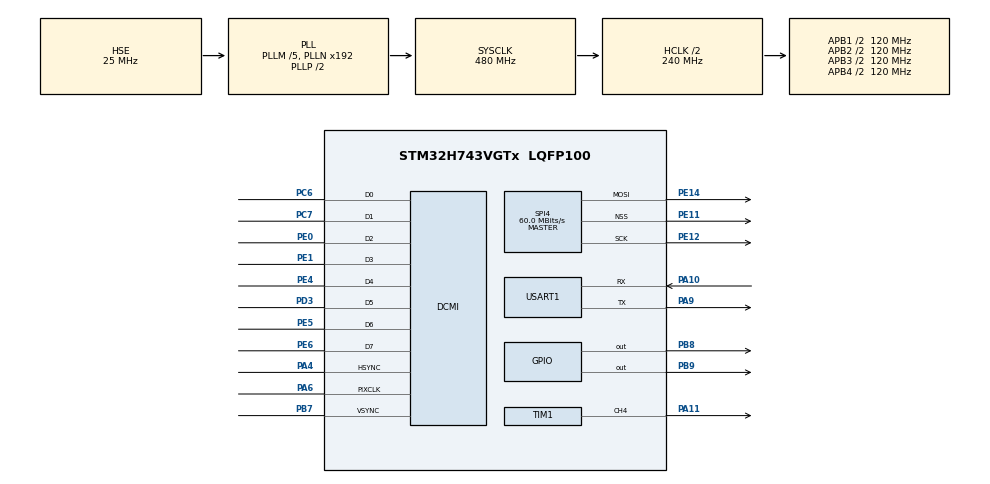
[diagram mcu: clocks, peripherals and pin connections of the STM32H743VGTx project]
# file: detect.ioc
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CORTEX_M7.AccessPermission_Spec=MPU_REGION_FULL_ACCESS
CORTEX_M7.BaseAddress_Spec=0x24000000
CORTEX_M7.CPU_DCache=Enabled
CORTEX_M7.CPU_ICache=Enabled
CORTEX_M7.IsBufferable_Spec=MPU_ACCESS_BUFFERABLE
CORTEX_M7.IsCacheable_Spec=MPU_ACCESS_CACHEABLE
CORTEX_M7.Size_Spec=MPU_REGION_SIZE_512KB
CORTEX_M7.default_mode_Activation=1
DCMI.PCKPolarity=DCMI_PCKPOLARITY_RISING
Dma.DCMI.0.Direction=DMA_PERIPH_TO_MEMORY
Dma.DCMI.0.EventEnable=DISABLE
Dma.DCMI.0.FIFOMode=DMA_FIFOMODE_ENABLE
Dma.DCMI.0.FIFOThreshold=DMA_FIFO_THRESHOLD_FULL
Dma.DCMI.0.Instance=DMA2_Stream7
Dma.DCMI.0.MemBurst=DMA_MBURST_SINGLE
Dma.DCMI.0.MemDataAlignment=DMA_MDATAALIGN_WORD
Dma.DCMI.0.MemInc=DMA_MINC_ENABLE
Dma.DCMI.0.Mode=DMA_CIRCULAR
Dma.DCMI.0.PeriphBurst=DMA_PBURST_SINGLE
Dma.DCMI.0.PeriphDataAlignment=DMA_PDATAALIGN_WORD
Dma.DCMI.0.PeriphInc=DMA_PINC_DISABLE
Dma.DCMI.0.Polarity=HAL_DMAMUX_REQ_GEN_RISING
Dma.DCMI.0.Priority=DMA_PRIORITY_LOW
Dma.DCMI.0.RequestNumber=1
Dma.DCMI.0.SignalID=NONE
Dma.DCMI.0.SyncEnable=DISABLE
Dma.DCMI.0.SyncPolarity=HAL_DMAMUX_SYNC_NO_EVENT
Dma.DCMI.0.SyncRequestNumber=1
Dma.DCMI.0.SyncSignalID=NONE
Dma.Request0=DCMI
Mcu.Family=STM32H7
Mcu.Name=STM32H743VGTx
Mcu.Package=LQFP100
NVIC.DCMI_IRQn=true\:0\:0\:true\:false\:true\:true\:true\:true
NVIC.DMA2_Stream7_IRQn=true\:0\:0\:true\:false\:true\:false\:true\:true
NVIC.PriorityGroup=NVIC_PRIORITYGROUP_4
PA10.Mode=Asynchronous
PA10.Signal=USART1_RX
PA11.Signal=S_TIM1_CH4
PA13\ (JTMS/SWDIO).Mode=Serial_Wire
PA13\ (JTMS/SWDIO).Signal=DEBUG_JTMS-SWDIO
PA14\ (JTCK/SWCLK).Mode=Serial_Wire
PA14\ (JTCK/SWCLK).Signal=DEBUG_JTCK-SWCLK
PA4.Mode=Slave_8_bits_External_Synchro
PA4.Signal=DCMI_HSYNC
PA6.Mode=Slave_8_bits_External_Synchro
PA6.Signal=DCMI_PIXCLK
PA9.Mode=Asynchronous
PA9.Signal=USART1_TX
PB7.Mode=Slave_8_bits_External_Synchro
PB7.Signal=DCMI_VSYNC
PB8.GPIO_ModeDefaultOutputPP=GPIO_MODE_OUTPUT_OD
PB8.GPIO_PuPd=GPIO_NOPULL
PB8.PinState=GPIO_PIN_SET
PB8.Signal=GPIO_Output
PB9.PinState=GPIO_PIN_SET
PB9.Signal=GPIO_Output
PC14-OSC32_IN\ (OSC32_IN).Mode=LSE-External-Oscillator
PC14-OSC32_IN\ (OSC32_IN).Signal=RCC_OSC32_IN
PC15-OSC32_OUT\ (OSC32_OUT).Mode=LSE-External-Oscillator
PC15-OSC32_OUT\ (OSC32_OUT).Signal=RCC_OSC32_OUT
PC6.Mode=Slave_8_bits_External_Synchro
PC6.Signal=DCMI_D0
PC7.Mode=Slave_8_bits_External_Synchro
PC7.Signal=DCMI_D1
PD3.Mode=Slave_8_bits_External_Synchro
PD3.Signal=DCMI_D5
PE0.Mode=Slave_8_bits_External_Synchro
PE0.Signal=DCMI_D2
PE1.Mode=Slave_8_bits_External_Synchro
PE1.Signal=DCMI_D3
PE11.Mode=NSS_Signal_Hard_Output
PE11.Signal=SPI4_NSS
PE12.Mode=TX_Only_Simplex_Unidirect_Master
PE12.Signal=SPI4_SCK
PE14.Mode=TX_Only_Simplex_Unidirect_Master
PE14.Signal=SPI4_MOSI
PE4.Mode=Slave_8_bits_External_Synchro
PE4.Signal=DCMI_D4
PE5.Mode=Slave_8_bits_External_Synchro
PE5.Signal=DCMI_D6
PE6.Mode=Slave_8_bits_External_Synchro
PE6.Signal=DCMI_D7
PH0-OSC_IN\ (PH0).Mode=HSE-External-Oscillator
PH0-OSC_IN\ (PH0).Signal=RCC_OSC_IN
PH1-OSC_OUT\ (PH1).Mode=HSE-External-Oscillator
PH1-OSC_OUT\ (PH1).Signal=RCC_OSC_OUT
ProjectManager.HeapSize=0x8000
ProjectManager.StackSize=0x8000
ProjectManager.TargetToolchain=MDK-ARM V5
RCC.ADCFreq_Value=50390625
RCC.APB1Freq_Value=120000000
RCC.APB2Freq_Value=120000000
RCC.APB3Freq_Value=120000000
RCC.APB4Freq_Value=120000000
RCC.CortexFreq_Value=480000000
RCC.D1PPRE=RCC_APB3_DIV2
RCC.D2PPRE1=RCC_APB1_DIV2
RCC.D2PPRE2=RCC_APB2_DIV2
RCC.D3PPRE=RCC_APB4_DIV2
RCC.DIVM1=5
RCC.DIVN1=192
RCC.DIVQ1=8
RCC.DIVR1=8
RCC.HCLKFreq_Value=240000000
RCC.HPRE=RCC_HCLK_DIV2
RCC.HSE_VALUE=25000000
RCC.PLLSourceVirtual=RCC_PLLSOURCE_HSE
RCC.SYSCLKFreq_VALUE=480000000
RCC.SYSCLKSource=RCC_SYSCLKSOURCE_PLLCLK
RCC.USBCLockSelection=RCC_USBCLKSOURCE_HSI48
RCC.USBFreq_Value=48000000
SH.S_TIM1_CH4.0=TIM1_CH4,PWM Generation4 CH4
SPI4.BaudRatePrescaler=SPI_BAUDRATEPRESCALER_2
SPI4.CalculateBaudRate=60.0 MBits/s
SPI4.DataSize=SPI_DATASIZE_8BIT
SPI4.Direction=SPI_DIRECTION_2LINES_TXONLY
SPI4.FifoThreshold=SPI_FIFO_THRESHOLD_02DATA
SPI4.Mode=SPI_MODE_MASTER
SPI4.VirtualNSS=VM_NSSHARD
SPI4.VirtualType=VM_MASTER
STMicroelectronics.X-CUBE-AI.9.1.0.ActivationBufferSizeList=327680
STMicroelectronics.X-CUBE-AI.9.1.0.ActivationBuffers=pool0
STMicroelectronics.X-CUBE-AI.9.1.0.ActivationNames=pool0
STMicroelectronics.X-CUBE-AI.9.1.0.ActivationSizes=AI_DETECT_DATA_ACTIVATION_1_SIZE
STMicroelectronics.X-CUBE-AI.9.1.0.ApplicationCcDeviceJjApplication=ApplicationTemplate
STMicroelectronics.X-CUBE-AI.9.1.0.HeapSize=0x8000
STMicroelectronics.X-CUBE-AI.9.1.0.InternalRamActivationBufferMaxSize=AI_DETECT_DATA_ACTIVATIONS_SIZE
STMicroelectronics.X-CUBE-AI.9.1.0.LatestDirectoryUsed-a944db586c262c50fa8032d9b023772883213d6c37ebc12255e3983b028dac71=E\:\\DL code\\model\\stm32ai-modelzoo\\object_detection\\facedetect_front\\Public_pretrainedmodel_public_dataset\\widerface
STMicroelectronics.X-CUBE-AI.9.1.0.MaximumNumberOfInputLayer=1
STMicroelectronics.X-CUBE-AI.9.1.0.MaximumNumberOfOutputLayer=1
STMicroelectronics.X-CUBE-AI.9.1.0.MaximumSizeOfInputLayer=1
STMicroelectronics.X-CUBE-AI.9.1.0.MaximumSizeOfOutputLayer=1,1,1,1
STMicroelectronics.X-CUBE-AI.9.1.0.ModelActualCompression-a944db586c262c50fa8032d9b023772883213d6c37ebc12255e3983b028dac71=0.0
STMicroelectronics.X-CUBE-AI.9.1.0.ModelCompression-a944db586c262c50fa8032d9b023772883213d6c37ebc12255e3983b028dac71=None
STMicroelectronics.X-CUBE-AI.9.1.0.ModelFlashOccupation-a944db586c262c50fa8032d9b023772883213d6c37ebc12255e3983b028dac71=107956
STMicroelectronics.X-CUBE-AI.9.1.0.ModelHashList=a944db586c262c50fa8032d9b023772883213d6c37ebc12255e3983b028dac71
STMicroelectronics.X-CUBE-AI.9.1.0.ModelKind-a944db586c262c50fa8032d9b023772883213d6c37ebc12255e3983b028dac71=TFLITE
STMicroelectronics.X-CUBE-AI.9.1.0.ModelMacc-a944db586c262c50fa8032d9b023772883213d6c37ebc12255e3983b028dac71=31849356
STMicroelectronics.X-CUBE-AI.9.1.0.ModelName-a944db586c262c50fa8032d9b023772883213d6c37ebc12255e3983b028dac71=detect
STMicroelectronics.X-CUBE-AI.9.1.0.ModelNameList=detect
STMicroelectronics.X-CUBE-AI.9.1.0.ModelRamOccupation-a944db586c262c50fa8032d9b023772883213d6c37ebc12255e3983b028dac71=327680
STMicroelectronics.X-CUBE-AI.9.1.0.ModelStructureFile-a944db586c262c50fa8032d9b023772883213d6c37ebc12255e3983b028dac71=E\:\\DL code\\model\\stm32ai-modelzoo\\object_detection\\facedetect_front\\Public_pretrainedmodel_public_dataset\\widerface\\blazeface_front_128_quant_pc_ff_od_widerface.tflite
STMicroelectronics.X-CUBE-AI.9.1.0.ModelType-a944db586c262c50fa8032d9b023772883213d6c37ebc12255e3983b028dac71=STM32Cube.AI MCU runtime
STMicroelectronics.X-CUBE-AI.9.1.0.ReadyForCodeGeneration=true
STMicroelectronics.X-CUBE-AI.9.1.0.StackSize=0x8000
STMicroelectronics.X-CUBE-AI.9.1.0.WorkingBufferStartAddrList=0xFFFFFFFF
STMicroelectronics.X-CUBE-AI.9.1.0.XAaCUBEAaAICcArtificialOoIntelligenceJjCore=true
STMicroelectronics.X-CUBE-AI.9.1.0.copyWeightToRam=false
STMicroelectronics.X-CUBE-AI.9.1.0.copyWeightToRam-a944db586c262c50fa8032d9b023772883213d6c37ebc12255e3983b028dac71=false
STMicroelectronics.X-CUBE-AI.9.1.0.customLayerConfigEnabled=false
STMicroelectronics.X-CUBE-AI.9.1.0.customLayerConfigEnabled-a944db586c262c50fa8032d9b023772883213d6c37ebc12255e3983b028dac71=false
STMicroelectronics.X-CUBE-AI.9.1.0.noOnnxIoTranspose=false
STMicroelectronics.X-CUBE-AI.9.1.0.noOnnxIoTranspose-a944db586c262c50fa8032d9b023772883213d6c37ebc12255e3983b028dac71=false
STMicroelectronics.X-CUBE-AI.9.1.0.useInputAllocation=true
STMicroelectronics.X-CUBE-AI.9.1.0.useInputAllocation-a944db586c262c50fa8032d9b023772883213d6c37ebc12255e3983b028dac71=true
STMicroelectronics.X-CUBE-AI.9.1.0.useOutputAllocation=true
STMicroelectronics.X-CUBE-AI.9.1.0.useOutputAllocation-a944db586c262c50fa8032d9b023772883213d6c37ebc12255e3983b028dac71=true
TIM1.AutoReloadPreload=TIM_AUTORELOAD_PRELOAD_ENABLE
TIM1.Channel-PWM\ Generation4\ CH4=TIM_CHANNEL_4
TIM1.Period=19999
TIM1.Prescaler=239
TIM1.Pulse-PWM\ Generation4\ CH4=1500
USART1.VirtualMode-Asynchronous=VM_ASYNC
VP_CRC_VS_CRC.Mode=CRC_Activate
VP_MEMORYMAP_VS_MEMORYMAP.Mode=CurAppReg
VP_STMicroelectronics.X-CUBE-AI_VS_ArtificialOoIntelligenceJjXAaCUBEAaAI_9.1.0.Mode=ArtificialOoIntelligenceJjXAaCUBEAaAI
VP_STMicroelectronics.X-CUBE-AI_VS_DeviceJjApplication_9.1.0.Mode=DeviceJjApplication
VP_TIM1_VS_ClockSourceINT.Mode=Internal
board=custom

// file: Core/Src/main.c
/* USER CODE BEGIN Header */
/**
  ******************************************************************************
  * @file           : main.c
  * @brief          : Main program body
  ******************************************************************************
  * @attention
  *
  * Copyright (c) 2026 STMicroelectronics.
  * All rights reserved.
  *
  * This software is licensed under terms that can be found in the LICENSE file
  * in the root directory of this software component.
  * If no LICENSE file comes with this software, it is provided AS-IS.
  *
  ******************************************************************************
  */
/* USER CODE END Header */
#include "main.h"
#include "crc.h"
#include "dcmi.h"
#include "dma.h"
#include "spi.h"
#include "tim.h"
#include "usart.h"
#include "gpio.h"
#include "app_x-cube-ai.h"

/* USER CODE BEGIN Includes */
#include "led.h"
#include "lcd_spi_154.h"
#include "dcmi_ov2640.h"
#include "sccb.h"

/* USER CODE END Includes */

/* USER CODE BEGIN PD */
#if defined(__CC_ARM)
__align(32) uint16_t Camera_Buffer_Array[Display_Width * Display_Height];
#else
uint16_t Camera_Buffer_Array[Display_Width * Display_Height] __attribute__((aligned(32)));
#endif
#define Camera_Buffer ((uint32_t)Camera_Buffer_Array)
#define Camera_Buffer_SwapBytes 0U
#define Camera_Buffer_NonCacheable 0U
#define CubeAI_Template_Enable 1U
#define CubeAI_Detect_Frame_Period 1U
#define CubeAI_Max_Defer_Frames 80U
#define Display_Update_Frame_Period 3U
#define Servo_Enable 1U
#define Servo_TIM_Channel TIM_CHANNEL_4
#define Servo_Pulse_Min_Us 500U
#define Servo_Pulse_Center_Us 1500U
#define Servo_Pulse_Max_Us 2500U
#define Servo_Track_Stable_Zone_Px 16
#define Servo_Track_Update_Period_Ms 20U
#define Servo_Track_Base_Step_Us 20U
#define Servo_Track_Max_Step_Us 90U
#define Servo_Track_Invert 1U
#define Servo_Scan_Min_Pulse_Us 550U
#define Servo_Scan_Max_Pulse_Us 2450U
#define Servo_Lost_Scan_Delay_Ms 800U
#define Servo_Scan_Update_Period_Ms 60U
#define Servo_Scan_Step_Us 32U

/* USER CODE END PD */

/* USER CODE BEGIN PV */
static uint16_t servo_pulse_us = Servo_Pulse_Center_Us;
static uint32_t servo_last_track_tick = 0U;
static uint32_t servo_last_scan_tick = 0U;
static uint32_t servo_lost_since_tick = 0U;
static int8_t servo_scan_dir = 1;

/* USER CODE END PV */

void SystemClock_Config(void);
static void MPU_Config(void);

/* USER CODE BEGIN 0 */
static void LCD_ShowBootStatus(uint16_t color, const char *line1, const char *line2)
{
  LCD_SetBackColor(color);
  LCD_SetColor(LCD_COLOR_WHITE);
  LCD_FillColor(color);
  LCD_DisplayString(24U, 72U, line1);
  LCD_DisplayString(24U, 112U, line2);
}

static void LCD_ShowCameraFail(void)
{
  LCD_ShowBootStatus(LCD_COLOR_RED, "CAM ERR", "STEP:");
  LCD_DisplayNumber(120U, 112U, OV2640_InitState, 2U);
  LCD_DisplayString(24U, 152U, "ID:");
  LCD_DisplayHexNumber(72U, 152U, OV2640_LastID, 4U);
  LCD_DisplayString(24U, 192U, "ACK:");
  LCD_DisplayNumber(88U, 192U, SCCB_LastAckError, 1U);
}

static void LCD_ShowDmaFail(HAL_StatusTypeDef status)
{
  LCD_ShowBootStatus(LCD_COLOR_YELLOW, "DMA ERR", "STAT:");
  LCD_DisplayNumber(120U, 112U, (uint32_t)status, 2U);
}

static void Servo_SetPulse(uint16_t pulse_us)
{
#if (Servo_Enable != 0U)
  if (pulse_us < Servo_Pulse_Min_Us)
  {
    pulse_us = Servo_Pulse_Min_Us;
  }
  else if (pulse_us > Servo_Pulse_Max_Us)
  {
    pulse_us = Servo_Pulse_Max_Us;
  }

  servo_pulse_us = pulse_us;
  __HAL_TIM_SET_COMPARE(&htim1, Servo_TIM_Channel, servo_pulse_us);
#else
  (void)pulse_us;
#endif
}

static void Servo_Start(void)
{
#if (Servo_Enable != 0U)
  Servo_SetPulse(Servo_Pulse_Center_Us);
  (void)HAL_TIM_PWM_Start(&htim1, Servo_TIM_Channel);
#endif
}

static void Servo_AddPulseDelta(int16_t delta_us)
{
#if (Servo_Enable != 0U)
  int32_t next_pulse = (int32_t)servo_pulse_us + (int32_t)delta_us;

  if (next_pulse < (int32_t)Servo_Pulse_Min_Us)
  {
    next_pulse = (int32_t)Servo_Pulse_Min_Us;
  }
  else if (next_pulse > (int32_t)Servo_Pulse_Max_Us)
  {
    next_pulse = (int32_t)Servo_Pulse_Max_Us;
  }

  Servo_SetPulse((uint16_t)next_pulse);
#else
  (void)delta_us;
#endif
}

static void Servo_ScanWhenLost(uint32_t now)
{
#if (Servo_Enable != 0U)
  if ((now - servo_last_scan_tick) < Servo_Scan_Update_Period_Ms)
  {
    return;
  }
  servo_last_scan_tick = now;

  if (servo_scan_dir > 0)
  {
    if (servo_pulse_us >= Servo_Scan_Max_Pulse_Us)
    {
      servo_scan_dir = -1;
      Servo_AddPulseDelta(-(int16_t)Servo_Scan_Step_Us);
    }
    else
    {
      Servo_AddPulseDelta((int16_t)Servo_Scan_Step_Us);
    }
  }
  else
  {
    if (servo_pulse_us <= Servo_Scan_Min_Pulse_Us)
    {
      servo_scan_dir = 1;
      Servo_AddPulseDelta((int16_t)Servo_Scan_Step_Us);
    }
    else
    {
      Servo_AddPulseDelta(-(int16_t)Servo_Scan_Step_Us);
    }
  }
#else
  (void)now;
#endif
}

static void Servo_TrackFace(void)
{
#if (Servo_Enable != 0U)
  uint16_t face_x = 0U;
  uint16_t face_y = 0U;
  uint16_t face_w = 0U;
  uint8_t confidence = 0U;
  uint32_t now = HAL_GetTick();
  int32_t error;
  uint16_t step_us;

  if ((now - servo_last_track_tick) < Servo_Track_Update_Period_Ms)
  {
    return;
  }
  servo_last_track_tick = now;

  if (MX_X_CUBE_AI_GetPrimaryFace(&face_x, &face_y, &face_w, &confidence) == 0)
  {
    if (servo_lost_since_tick == 0U)
    {
      servo_lost_since_tick = now;
      return;
    }

    if ((now - servo_lost_since_tick) < Servo_Lost_Scan_Delay_Ms)
    {
      return;
    }

    Servo_ScanWhenLost(now);
    return;
  }

  servo_lost_since_tick = 0U;

  (void)face_y;
  (void)face_w;
  (void)confidence;

  error = (int32_t)face_x - ((int32_t)Display_Width / 2);
  if ((error >= -Servo_Track_Stable_Zone_Px) && (error <= Servo_Track_Stable_Zone_Px))
  {
    return;
  }

  if (error < 0)
  {
    step_us = (uint16_t)((-error / 24) + 1) * Servo_Track_Base_Step_Us;
    if (step_us > Servo_Track_Max_Step_Us)
    {
      step_us = Servo_Track_Max_Step_Us;
    }
#if (Servo_Track_Invert != 0U)
    Servo_AddPulseDelta((int16_t)step_us);
#else
    Servo_AddPulseDelta(-(int16_t)step_us);
#endif
  }
  else
  {
    step_us = (uint16_t)((error / 24) + 1) * Servo_Track_Base_Step_Us;
    if (step_us > Servo_Track_Max_Step_Us)
    {
      step_us = Servo_Track_Max_Step_Us;
    }
#if (Servo_Track_Invert != 0U)
    Servo_AddPulseDelta(-(int16_t)step_us);
#else
    Servo_AddPulseDelta((int16_t)step_us);
#endif
  }
#endif
}

static void User_MPU_Config(void)
{
  MPU_Region_InitTypeDef MPU_InitStruct = {0};

  HAL_MPU_Disable();

  MPU_InitStruct.Enable = MPU_REGION_ENABLE;
  MPU_InitStruct.Number = MPU_REGION_NUMBER0;
  MPU_InitStruct.BaseAddress = 0x24000000UL;
  MPU_InitStruct.Size = MPU_REGION_SIZE_512KB;
  MPU_InitStruct.SubRegionDisable = 0x00;
#if (Camera_Buffer_NonCacheable != 0U)
  MPU_InitStruct.TypeExtField = MPU_TEX_LEVEL1;
#else
  MPU_InitStruct.TypeExtField = MPU_TEX_LEVEL1;
#endif
  MPU_InitStruct.AccessPermission = MPU_REGION_FULL_ACCESS;
  MPU_InitStruct.DisableExec = MPU_INSTRUCTION_ACCESS_ENABLE;
  MPU_InitStruct.IsShareable = MPU_ACCESS_SHAREABLE;
#if (Camera_Buffer_NonCacheable != 0U)
  MPU_InitStruct.IsCacheable = MPU_ACCESS_NOT_CACHEABLE;
  MPU_InitStruct.IsBufferable = MPU_ACCESS_NOT_BUFFERABLE;
#else
  MPU_InitStruct.IsCacheable = MPU_ACCESS_CACHEABLE;
  MPU_InitStruct.IsBufferable = MPU_ACCESS_BUFFERABLE;
#endif

  HAL_MPU_ConfigRegion(&MPU_InitStruct);
  HAL_MPU_Enable(MPU_PRIVILEGED_DEFAULT);
}

/* USER CODE END 0 */

int main(void)
{

  /* USER CODE BEGIN 1 */
  OV2640_StatusTypeDef camera_status;
  HAL_StatusTypeDef dma_status;
  uint8_t ai_frame_divider = 0U;
  uint8_t ai_defer_count = 0U;
  uint8_t display_frame_divider = 0U;
  uint8_t app_fps = 0U;
  uint32_t app_fps_last_tick = 0U;
  uint32_t app_frame_count_1s = 0U;
#define MPU_Config User_MPU_Config

  /* USER CODE END 1 */

  /* MPU Configuration--------------------------------------------------------*/
  MPU_Config();

  /* Enable the CPU Cache */

  /* Enable I-Cache---------------------------------------------------------*/
  SCB_EnableICache();

  /* Enable D-Cache---------------------------------------------------------*/
  SCB_EnableDCache();

  /* MCU Configuration--------------------------------------------------------*/

  /* Reset of all peripherals, Initializes the Flash interface and the Systick. */
  HAL_Init();

  /* USER CODE BEGIN Init */
  SCB->CPACR |= ((3UL << 10*2)|(3UL << 11*2));
  __DSB();
  __ISB();
  /* USER CODE END Init */

  /* Configure the system clock */
  SystemClock_Config();

  /* Initialize all configured peripherals */
  MX_GPIO_Init();
  MX_DMA_Init();
  MX_DCMI_Init();
  MX_SPI4_Init();
  MX_USART1_UART_Init();
  MX_CRC_Init();
  MX_TIM1_Init();
  /* USER CODE BEGIN 2 */
  LED_Init();
  SPI_LCD_Init();
  Servo_Start();

#if (CubeAI_Template_Enable != 0U)
  LCD_ShowBootStatus(LCD_COLOR_BLUE, "AI INIT", "WAIT");
  MX_X_CUBE_AI_Init();
  if (!MX_X_CUBE_AI_IsReady())
  {
    ai_error ai_init_error = MX_X_CUBE_AI_GetLastError();
    LCD_ShowBootStatus(LCD_COLOR_RED, "AI ERR", "T:");
    LCD_DisplayHexNumber(72U, 112U, ai_init_error.type, 2U);
    LCD_DisplayString(120U, 112U, "C:");
    LCD_DisplayHexNumber(152U, 112U, ai_init_error.code, 4U);
  }
#endif

  camera_status = DCMI_OV2640_Init();

  if (camera_status == OV2640_Success)
  {
    dma_status = OV2640_DMA_Transmit_Continuous(Camera_Buffer, OV2640_BufferSize);
    if (dma_status != HAL_OK)
    {
      LCD_ShowDmaFail(dma_status);
    }
  }
  else
  {
    dma_status = HAL_ERROR;
    LCD_ShowCameraFail();
  }

  /* USER CODE END 2 */

  /* Infinite loop */
  while (1)
  {

    /* USER CODE BEGIN 3 */
    if (DCMI_FrameState == 1U)
    {

      DCMI_FrameState = 0U;
      SCB_InvalidateDCache_by_Addr((uint32_t *)Camera_Buffer,
                                   (int32_t)(Display_Width * Display_Height * 2U));

#if (CubeAI_Template_Enable != 0U)
      if (MX_X_CUBE_AI_IsReady())
      {
        if (ai_frame_divider == 0U)
        {
          if ((DCMI_FrameState == 0U) || (ai_defer_count >= CubeAI_Max_Defer_Frames))
          {
            MX_X_CUBE_AI_Process();
            Servo_TrackFace();
            ai_frame_divider = (CubeAI_Detect_Frame_Period > 0U) ?
                                (uint8_t)(CubeAI_Detect_Frame_Period - 1U) : 0U;
            ai_defer_count = 0U;
          }
          else
          {
            ai_defer_count++;
          }
        }
        else
        {
          ai_frame_divider--;
        }
      }
#endif

      if (display_frame_divider == 0U)
      {
#if (Camera_Buffer_SwapBytes != 0U)
        LCD_CopyBufferSwapBytes(0U, 0U, Display_Width, Display_Height, (uint16_t *)Camera_Buffer);
#else
        LCD_CopyBuffer(0U, 0U, Display_Width, Display_Height, (uint16_t *)Camera_Buffer);
#endif
#if (CubeAI_Template_Enable != 0U)
        MX_X_CUBE_AI_DrawDetections();
#endif
        LCD_SetColor(LCD_COLOR_WHITE);
        LCD_DisplayStringTransparent(8U, 200U, "FPS:");
        LCD_DisplayNumberTransparent(72U, 200U, app_fps, 3U);
#if (CubeAI_Template_Enable != 0U)
        LCD_DisplayStringTransparent(128U, 200U, "AI:");
        LCD_DisplayNumberTransparent(176U, 200U, MX_X_CUBE_AI_GetLastProcessMs(), 3U);
#endif
        LED1_Toggle;
        display_frame_divider = (Display_Update_Frame_Period > 0U) ?
                                (uint8_t)(Display_Update_Frame_Period - 1U) : 0U;
      }
      else
      {
        display_frame_divider--;
      }

      app_frame_count_1s++;
      if (app_fps_last_tick == 0U)
      {
        app_fps_last_tick = HAL_GetTick();
      }
      else
      {
        uint32_t now = HAL_GetTick();
        uint32_t elapsed = now - app_fps_last_tick;
        if (elapsed >= 1000U)
        {
          uint32_t fps = (app_frame_count_1s * 1000U) / elapsed;
          app_fps = (fps > 255U) ? 255U : (uint8_t)fps;
          app_frame_count_1s = 0U;
          app_fps_last_tick = now;
        }
      }
    }
  }
  /* USER CODE END 3 */
}

void SystemClock_Config(void)
{
  RCC_OscInitTypeDef RCC_OscInitStruct = {0};
  RCC_ClkInitTypeDef RCC_ClkInitStruct = {0};

  /** Supply configuration update enable
  */
  HAL_PWREx_ConfigSupply(PWR_LDO_SUPPLY);

  /** Configure the main internal regulator output voltage
  */
  __HAL_PWR_VOLTAGESCALING_CONFIG(PWR_REGULATOR_VOLTAGE_SCALE0);

  while(!__HAL_PWR_GET_FLAG(PWR_FLAG_VOSRDY)) {}

  /** Initializes the RCC Oscillators according to the specified parameters
  * in the RCC_OscInitTypeDef structure.
  */
  RCC_OscInitStruct.OscillatorType = RCC_OSCILLATORTYPE_HSE;
  RCC_OscInitStruct.HSEState = RCC_HSE_ON;
  RCC_OscInitStruct.PLL.PLLState = RCC_PLL_ON;
  RCC_OscInitStruct.PLL.PLLSource = RCC_PLLSOURCE_HSE;
  RCC_OscInitStruct.PLL.PLLM = 5;
  RCC_OscInitStruct.PLL.PLLN = 192;
  RCC_OscInitStruct.PLL.PLLP = 2;
  RCC_OscInitStruct.PLL.PLLQ = 8;
  RCC_OscInitStruct.PLL.PLLR = 8;
  RCC_OscInitStruct.PLL.PLLRGE = RCC_PLL1VCIRANGE_2;
  RCC_OscInitStruct.PLL.PLLVCOSEL = RCC_PLL1VCOWIDE;
  RCC_OscInitStruct.PLL.PLLFRACN = 0;
  if (HAL_RCC_OscConfig(&RCC_OscInitStruct) != HAL_OK)
  {
    Error_Handler();
  }

  /** Initializes the CPU, AHB and APB buses clocks
  */
  RCC_ClkInitStruct.ClockType = RCC_CLOCKTYPE_HCLK|RCC_CLOCKTYPE_SYSCLK
                              |RCC_CLOCKTYPE_PCLK1|RCC_CLOCKTYPE_PCLK2
                              |RCC_CLOCKTYPE_D3PCLK1|RCC_CLOCKTYPE_D1PCLK1;
  RCC_ClkInitStruct.SYSCLKSource = RCC_SYSCLKSOURCE_PLLCLK;
  RCC_ClkInitStruct.SYSCLKDivider = RCC_SYSCLK_DIV1;
  RCC_ClkInitStruct.AHBCLKDivider = RCC_HCLK_DIV2;
  RCC_ClkInitStruct.APB3CLKDivider = RCC_APB3_DIV2;
  RCC_ClkInitStruct.APB1CLKDivider = RCC_APB1_DIV2;
  RCC_ClkInitStruct.APB2CLKDivider = RCC_APB2_DIV2;
  RCC_ClkInitStruct.APB4CLKDivider = RCC_APB4_DIV2;

  if (HAL_RCC_ClockConfig(&RCC_ClkInitStruct, FLASH_LATENCY_4) != HAL_OK)
  {
    Error_Handler();
  }
}

/* USER CODE BEGIN 4 */
#undef MPU_Config

/* USER CODE END 4 */

 /* MPU Configuration */

void MPU_Config(void)
{
  MPU_Region_InitTypeDef MPU_InitStruct = {0};

  /* Disables the MPU */
  HAL_MPU_Disable();

  /** Initializes and configures the Region and the memory to be protected
  */
  MPU_InitStruct.Enable = MPU_REGION_ENABLE;
  MPU_InitStruct.Number = MPU_REGION_NUMBER0;
  MPU_InitStruct.BaseAddress = 0x24000000;
  MPU_InitStruct.Size = MPU_REGION_SIZE_512KB;
  MPU_InitStruct.SubRegionDisable = 0x00;
  MPU_InitStruct.TypeExtField = MPU_TEX_LEVEL1;
  MPU_InitStruct.AccessPermission = MPU_REGION_FULL_ACCESS;
  MPU_InitStruct.DisableExec = MPU_INSTRUCTION_ACCESS_DISABLE;
  MPU_InitStruct.IsShareable = MPU_ACCESS_SHAREABLE;
  MPU_InitStruct.IsCacheable = MPU_ACCESS_CACHEABLE;
  MPU_InitStruct.IsBufferable = MPU_ACCESS_BUFFERABLE;

  HAL_MPU_ConfigRegion(&MPU_InitStruct);
  /* Enables the MPU */
  HAL_MPU_Enable(MPU_PRIVILEGED_DEFAULT);

}

void Error_Handler(void)
{
  __disable_irq();
  while (1)
  {
  }
}
